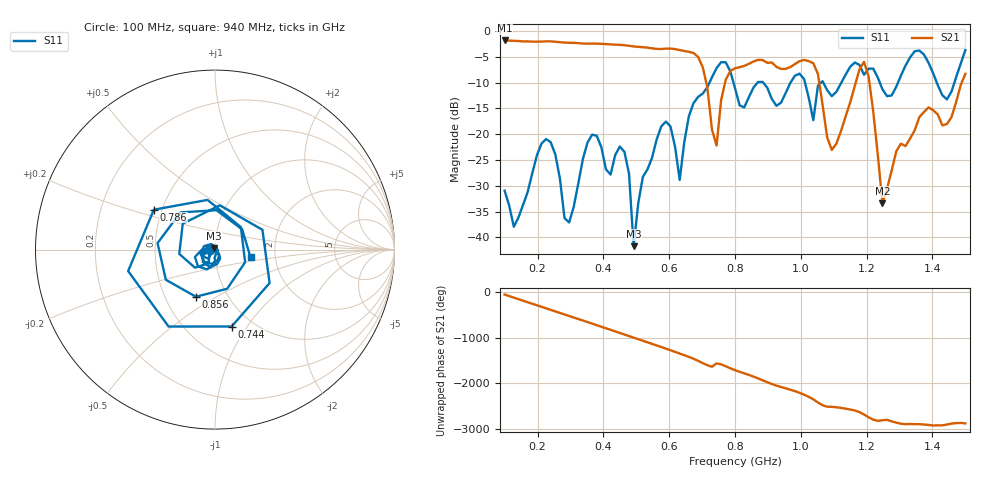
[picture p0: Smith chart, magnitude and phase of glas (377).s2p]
! NanoVNA-App
! Date: 2025-09-25 15:58:24
! Start: 100MHz Stop: 1,5GHz Points: 101
! S-Parameter data: F S11 S21 S12 S22
# Hz S RI R 50
!  Frequency  S11_Real  S11_Imag  S21_Real  S21_Imag  S12_Real  S12_Imag  S22_Real  S22_Imag
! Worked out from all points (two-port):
!   101 points, 100 MHz to 1.5 GHz, reference 50 ohm
!   highest |S21| = -1.80 dB at 100 MHz (marker M1); lowest = -33.4 dB at 1.248 GHz (marker M2)
!   |S21| within 3 dB of the highest: start of sweep to 684.3 MHz
!   lowest |S11| = -41.7 dB at 492 MHz (marker M3), VSWR 1.02, Z = 49.5 + j0.653 ohm
!   |S11| at or under -10 dB: start of sweep to 722.3 MHz; 795.4 MHz to 868.2 MHz (72.79 MHz wide, 8.75 % of centre); 886 MHz to 968.5 MHz (82.49 MHz wide, 8.9 % of centre) (the widest 3 of 7)
!   S12 and S22 are empty: the file has one direction only
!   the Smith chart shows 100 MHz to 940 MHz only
!   S11 on the Smith chart (normalised r, x): 100 MHz: 0.95, -0.01; 744 MHz: 0.80, -0.85; 786 MHz: 0.45, +0.24; 856 MHz: 0.71, -0.41; 940 MHz: 1.49, -0.13
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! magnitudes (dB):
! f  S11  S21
! 100 MHz  -30.9  -1.8
! 128 MHz  -37.9  -1.9
! 226 MHz  -20.9  -2.0
! 296 MHz  -37.1  -2.2
! 338 MHz  -24.8  -2.4
! 464 MHz  -23.4  -2.7
! 492 MHz  -41.7  -3.0
! 576 MHz  -18.5  -3.5
! 632 MHz  -28.8  -3.7
! 702 MHz  -12.1  -7.0
! 744 MHz  -7.2  -22.2
! 786 MHz  -7.8  -7.7
! 800 MHz  -11.1  -7.2
! 856 MHz  -11.0  -5.9
! 940 MHz  -13.9  -7.3
! 996 MHz  -8.2  -5.8
! 1.038 GHz  -17.3  -6.2
! 1.094 GHz  -12.6  -23.0
! 1.192 GHz  -8.5  -6.0
! 1.248 GHz  -11.3  -33.4
! 1.276 GHz  -12.5  -27.1
! 1.5 GHz  -3.6  -8.3
